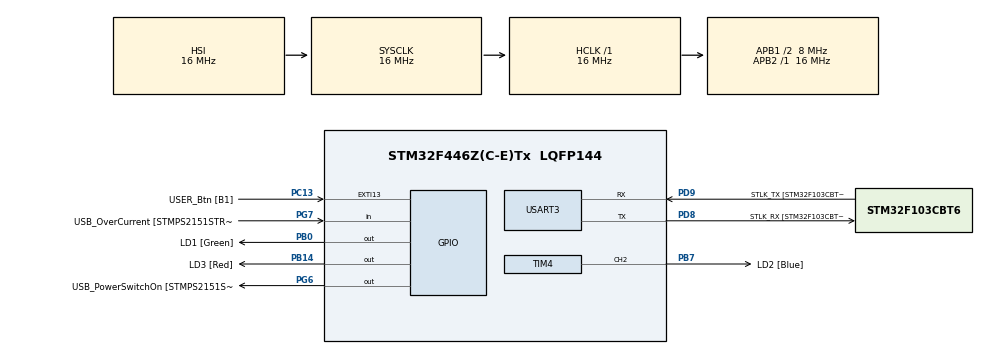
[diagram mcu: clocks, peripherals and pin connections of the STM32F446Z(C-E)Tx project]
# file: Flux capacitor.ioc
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Dma.Request0=USART3_RX
Dma.Request1=USART3_TX
Dma.USART3_RX.0.Direction=DMA_PERIPH_TO_MEMORY
Dma.USART3_RX.0.FIFOMode=DMA_FIFOMODE_DISABLE
Dma.USART3_RX.0.Instance=DMA1_Stream1
Dma.USART3_RX.0.MemDataAlignment=DMA_MDATAALIGN_BYTE
Dma.USART3_RX.0.MemInc=DMA_MINC_ENABLE
Dma.USART3_RX.0.Mode=DMA_CIRCULAR
Dma.USART3_RX.0.PeriphDataAlignment=DMA_PDATAALIGN_BYTE
Dma.USART3_RX.0.PeriphInc=DMA_PINC_DISABLE
Dma.USART3_RX.0.Priority=DMA_PRIORITY_LOW
Dma.USART3_TX.1.Direction=DMA_MEMORY_TO_PERIPH
Dma.USART3_TX.1.FIFOMode=DMA_FIFOMODE_DISABLE
Dma.USART3_TX.1.Instance=DMA1_Stream3
Dma.USART3_TX.1.MemDataAlignment=DMA_MDATAALIGN_BYTE
Dma.USART3_TX.1.MemInc=DMA_MINC_ENABLE
Dma.USART3_TX.1.Mode=DMA_CIRCULAR
Dma.USART3_TX.1.PeriphDataAlignment=DMA_PDATAALIGN_BYTE
Dma.USART3_TX.1.PeriphInc=DMA_PINC_DISABLE
Dma.USART3_TX.1.Priority=DMA_PRIORITY_LOW
Mcu.Family=STM32F4
Mcu.Name=STM32F446Z(C-E)Tx
Mcu.Package=LQFP144
NVIC.DMA1_Stream1_IRQn=true\:0\:0\:false\:false\:true
NVIC.DMA1_Stream3_IRQn=true\:0\:0\:false\:false\:true
NVIC.EXTI15_10_IRQn=true\:0\:0\:false\:false\:true
NVIC.PriorityGroup=NVIC_PRIORITYGROUP_4
NVIC.TIM8_TRG_COM_TIM14_IRQn=true\:0\:0\:false\:false\:true
NVIC.USART3_IRQn=true\:0\:0\:false\:false\:true
PA10.GPIO_Label=USB_ID
PA10.Signal=USB_OTG_FS_ID
PA11.GPIO_Label=USB_DM
PA11.Signal=USB_OTG_FS_DM
PA12.GPIO_Label=USB_DP
PA12.Signal=USB_OTG_FS_DP
PA13.GPIO_Label=TMS
PA13.Signal=SYS_JTMS-SWDIO
PA14.GPIO_Label=TCK
PA14.Signal=SYS_JTCK-SWCLK
PA8.GPIO_Label=USB_SOF [TP1]
PA8.Signal=USB_OTG_FS_SOF
PA9.GPIO_Label=USB_VBUS
PA9.Signal=USB_OTG_FS_VBUS
PB0.GPIO_Label=LD1 [Green]
PB0.Signal=GPIO_Output
PB14.GPIO_Label=LD3 [Red]
PB14.Signal=GPIO_Output
PB7.GPIO_Label=LD2 [Blue]
PB7.Signal=S_TIM4_CH2
PC13.GPIO_Label=USER_Btn [B1]
PC13.Signal=GPXTI13
PC14-OSC32_IN.Signal=RCC_OSC32_IN
PC15-OSC32_OUT.Signal=RCC_OSC32_OUT
PD8.GPIO_Label=STLK_RX [STM32F103CBT6_PA3]
PD8.Mode=Asynchronous
PD8.Signal=USART3_TX
PD9.GPIO_Label=STLK_TX [STM32F103CBT6_PA2]
PD9.Mode=Asynchronous
PD9.Signal=USART3_RX
PG6.GPIO_Label=USB_PowerSwitchOn [STMPS2151STR_EN]
PG6.Signal=GPIO_Output
PG7.GPIO_Label=USB_OverCurrent [STMPS2151STR_FAULT]
PG7.Signal=GPIO_Input
PH0-OSC_IN.GPIO_Label=MCO [STM32F103CBT6_PA8]
PH0-OSC_IN.Signal=RCC_OSC_IN
PH1-OSC_OUT.Signal=RCC_OSC_OUT
ProjectManager.HeapSize=0x200
ProjectManager.StackSize=0x400
ProjectManager.TargetToolchain=MDK-ARM V5
RCC.48MHZClocksFreq_Value=24000000
RCC.AHBFreq_Value=16000000
RCC.APB1CLKDivider=RCC_HCLK_DIV2
RCC.APB1Freq_Value=8000000
RCC.APB1TimFreq_Value=16000000
RCC.APB2Freq_Value=16000000
RCC.APB2TimFreq_Value=16000000
RCC.CortexFreq_Value=16000000
RCC.HCLKFreq_Value=16000000
RCC.HSE_VALUE=8000000
RCC.HSI_VALUE=16000000
RCC.LSE_VALUE=32768
RCC.PLLMUL=RCC_PLL_MUL9
RCC.PRESCALERUSB=RCC_USBCLKSOURCE_PLL_DIV1_5
RCC.SYSCLKFreq_VALUE=16000000
RCC.SYSCLKSourceVirtual=RCC_SYSCLKSOURCE_PLLCLK
RCC.USBFreq_Value=96000000
RCC.VCOOutputFreq_Value=192000000
RCC.VDD_VALUE=3.3
SH.S_TIM4_CH2.0=TIM4_CH2,PWM Generation2 CH2
TIM14.Period=15999
TIM14.Prescaler=0
TIM4.Channel-PWM\ Generation2\ CH2=TIM_CHANNEL_2
TIM4.Period=999
TIM4.Prescaler=159
VP_TIM14_VS_ClockSourceINT.Mode=Enable_Timer
board=NUCLEO-F446ZE

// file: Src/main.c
/**
  ******************************************************************************
  * File Name          : main.c
  * Description        : Main program body
  ******************************************************************************
  *
  * COPYRIGHT(c) 2017 STMicroelectronics
  *
  * Redistribution and use in source and binary forms, with or without modification,
  * are permitted provided that the following conditions are met:
  *   1. Redistributions of source code must retain the above copyright notice,
  *      this list of conditions and the following disclaimer.
  *   2. Redistributions in binary form must reproduce the above copyright notice,
  *      this list of conditions and the following disclaimer in the documentation
  *      and/or other materials provided with the distribution.
  *   3. Neither the name of STMicroelectronics nor the names of its contributors
  *      may be used to endorse or promote products derived from this software
  *      without specific prior written permission.
  *
  * THIS SOFTWARE IS PROVIDED BY THE COPYRIGHT HOLDERS AND CONTRIBUTORS "AS IS"
  * AND ANY EXPRESS OR IMPLIED WARRANTIES, INCLUDING, BUT NOT LIMITED TO, THE
  * IMPLIED WARRANTIES OF MERCHANTABILITY AND FITNESS FOR A PARTICULAR PURPOSE ARE
  * DISCLAIMED. IN NO EVENT SHALL THE COPYRIGHT HOLDER OR CONTRIBUTORS BE LIABLE
  * FOR ANY DIRECT, INDIRECT, INCIDENTAL, SPECIAL, EXEMPLARY, OR CONSEQUENTIAL
  * DAMAGES (INCLUDING, BUT NOT LIMITED TO, PROCUREMENT OF SUBSTITUTE GOODS OR
  * SERVICES; LOSS OF USE, DATA, OR PROFITS; OR BUSINESS INTERRUPTION) HOWEVER
  * CAUSED AND ON ANY THEORY OF LIABILITY, WHETHER IN CONTRACT, STRICT LIABILITY,
  * OR TORT (INCLUDING NEGLIGENCE OR OTHERWISE) ARISING IN ANY WAY OUT OF THE USE
  * OF THIS SOFTWARE, EVEN IF ADVISED OF THE POSSIBILITY OF SUCH DAMAGE.
  *
  ******************************************************************************
  */
#include "main.h"
#include "stm32f4xx_hal.h"

TIM_HandleTypeDef htim4;
TIM_HandleTypeDef htim14;

UART_HandleTypeDef huart3;
DMA_HandleTypeDef hdma_usart3_rx;
DMA_HandleTypeDef hdma_usart3_tx;

/* USER CODE BEGIN PV */
/* Private variables ---------------------------------------------------------*/
#define DEBUG_MODE 1

#define MAXSTRING 27

char	rxBuffer = '\000';
char	rxString[MAXSTRING];
int rxindex = 0;

#define BURST_TIME	70
#define READY_TIME	150
#define TIME_OUT	300
uint16_t ready, burst, first;
uint16_t timer;
volatile uint16_t breath_mode, click_count;

/* USER CODE END PV */

void SystemClock_Config(void);
void Error_Handler(void);
static void MX_GPIO_Init(void);
static void MX_DMA_Init(void);
static void MX_USART3_UART_Init(void);
static void MX_TIM14_Init(void);
static void MX_TIM4_Init(void);
void HAL_TIM_MspPostInit(TIM_HandleTypeDef *htim);

/* USER CODE BEGIN PFP */
/* Private function prototypes -----------------------------------------------*/
void HAL_UART_RxCpltCallback(UART_HandleTypeDef *huart);
void print(char string[MAXSTRING]);

/* USER CODE END PFP */

int main(void)
{

  /* USER CODE BEGIN 1 */
	char button_pressed  = 0;

  /* USER CODE END 1 */

  /* MCU Configuration----------------------------------------------------------*/

  /* Reset of all peripherals, Initializes the Flash interface and the Systick. */
  HAL_Init();

  /* Configure the system clock */
  SystemClock_Config();

  /* Initialize all configured peripherals */
  MX_GPIO_Init();
  MX_DMA_Init();
  MX_USART3_UART_Init();
  MX_TIM14_Init();
  MX_TIM4_Init();

  /* USER CODE BEGIN 2 */
//	HAL_TIM_Base_Start_IT(&htim14);
	HAL_TIM_PWM_Start(&htim4,TIM_CHANNEL_2);

	GPIO_TypeDef *led_port[]={LD1_GPIO_Port, LD2_GPIO_Port, LD3_GPIO_Port};
	int led_pin[]={LD1_Pin, LD2_Pin ,LD3_Pin};

	char buff[30];

//	for(char i=0; i<3; i++){
//		for(char j=(i+1)*2;j>0;j--){
////
////			sprintf(buff, "\r\n  i= %i; j= %i",i,j);
////			HAL_UART_Transmit(&huart3, (uint8_t*)buff, strlen(buff), 0xFFFF);
////
//		switch (i){
//			case 0: {	HAL_GPIO_TogglePin(led_port[0], led_pin[0]);
//								break;}
//			case 1: {	HAL_GPIO_TogglePin(led_port[0], led_pin[0]);
//								HAL_GPIO_TogglePin(led_port[1], led_pin[1]);
//								break;}
//			case 2: {	HAL_GPIO_TogglePin(led_port[0], led_pin[0]);
//								HAL_GPIO_TogglePin(led_port[1], led_pin[1]);
//								HAL_GPIO_TogglePin(led_port[2], led_pin[2]);
//								break;}
//		}
//		HAL_Delay(100);
//		}
//		HAL_Delay(100);
//	}

//	HAL_GPIO_WritePin(LD1_GPIO_Port, LD1_Pin, GPIO_PIN_SET);
//	HAL_GPIO_WritePin(LD2_GPIO_Port, LD2_Pin, GPIO_PIN_SET);
//	HAL_GPIO_WritePin(LD3_GPIO_Port, LD3_Pin, GPIO_PIN_SET);

	char *msg = "\n\rNucleo-144 ISR-UART-DMA Fun!\n\r";

  HAL_UART_Transmit(&huart3, (uint8_t*)msg, strlen(msg), 0xFFFF);
	HAL_UART_Receive_DMA(&huart3, &rxBuffer, 1);

  /* USER CODE END 2 */

  /* Infinite loop */
  /* USER CODE BEGIN WHILE */

		uint16_t dutyCycle = HAL_TIM_ReadCapturedValue(&htim4, TIM_CHANNEL_2);
		sprintf(buff, "\r\ndutyCycle: %d", dutyCycle);
		HAL_UART_Transmit(&huart3, (uint8_t*)buff, strlen(buff), 0xFFFF);

  	while (1)
  {
  /* USER CODE END WHILE */

  /* USER CODE BEGIN 3 */

		HAL_GPIO_TogglePin(LD3_GPIO_Port, LD3_Pin);
		HAL_Delay(250);

		if(breath_mode == 0x01){
				while(dutyCycle < __HAL_TIM_GET_AUTORELOAD(&htim4)) {
					__HAL_TIM_SET_COMPARE(&htim4, TIM_CHANNEL_2, ++dutyCycle);
					HAL_Delay(1);
				}

				while(dutyCycle > 0) {
					__HAL_TIM_SET_COMPARE(&htim4, TIM_CHANNEL_2, --dutyCycle);
					HAL_Delay(1);
				}
		}
//
//
//
//		if (HAL_GPIO_ReadPin(USER_Btn_GPIO_Port, USER_Btn_Pin)){
//			HAL_GPIO_TogglePin(LD2_GPIO_Port, LD2_Pin);
//			HAL_Delay(100);
//		}

//
//		if(HAL_GPIO_ReadPin(USER_Btn_GPIO_Port, USER_Btn_Pin)){
//			char buff[30];
//			sprintf(buff, "\r\nUSER BUTTON status: %s; button_pressed: %i",
//			HAL_GPIO_ReadPin(USER_Btn_GPIO_Port, USER_Btn_Pin) == GPIO_PIN_SET ? "PRESSED" : "RELEASED"
//			,button_pressed);
//			HAL_UART_Transmit(&huart3, (uint8_t*)buff, strlen(buff), 0xFFFF);
//
//			if(button_pressed==0)
//			{
//				HAL_GPIO_TogglePin(LD2_GPIO_Port, LD2_Pin);
//				button_pressed=1;
//				HAL_Delay(100);
//			}
//
//		}
//
//		else
//			{
//			button_pressed=0;
//			HAL_Delay(100);
//			}
//

	}
  /* USER CODE END 3 */

}

/** System Clock Configuration
*/
void SystemClock_Config(void)
{

  RCC_OscInitTypeDef RCC_OscInitStruct;
  RCC_ClkInitTypeDef RCC_ClkInitStruct;

    /**Configure the main internal regulator output voltage
    */
  __HAL_RCC_PWR_CLK_ENABLE();

  __HAL_PWR_VOLTAGESCALING_CONFIG(PWR_REGULATOR_VOLTAGE_SCALE3);

    /**Initializes the CPU, AHB and APB busses clocks
    */
  RCC_OscInitStruct.OscillatorType = RCC_OSCILLATORTYPE_HSI;
  RCC_OscInitStruct.HSIState = RCC_HSI_ON;
  RCC_OscInitStruct.HSICalibrationValue = 16;
  RCC_OscInitStruct.PLL.PLLState = RCC_PLL_NONE;
  if (HAL_RCC_OscConfig(&RCC_OscInitStruct) != HAL_OK)
  {
    Error_Handler();
  }

    /**Initializes the CPU, AHB and APB busses clocks
    */
  RCC_ClkInitStruct.ClockType = RCC_CLOCKTYPE_HCLK|RCC_CLOCKTYPE_SYSCLK
                              |RCC_CLOCKTYPE_PCLK1|RCC_CLOCKTYPE_PCLK2;
  RCC_ClkInitStruct.SYSCLKSource = RCC_SYSCLKSOURCE_HSI;
  RCC_ClkInitStruct.AHBCLKDivider = RCC_SYSCLK_DIV1;
  RCC_ClkInitStruct.APB1CLKDivider = RCC_HCLK_DIV2;
  RCC_ClkInitStruct.APB2CLKDivider = RCC_HCLK_DIV1;

  if (HAL_RCC_ClockConfig(&RCC_ClkInitStruct, FLASH_LATENCY_0) != HAL_OK)
  {
    Error_Handler();
  }

    /**Configure the Systick interrupt time
    */
  HAL_SYSTICK_Config(HAL_RCC_GetHCLKFreq()/1000);

    /**Configure the Systick
    */
  HAL_SYSTICK_CLKSourceConfig(SYSTICK_CLKSOURCE_HCLK);

  /* SysTick_IRQn interrupt configuration */
  HAL_NVIC_SetPriority(SysTick_IRQn, 0, 0);
}

/* TIM4 init function */
static void MX_TIM4_Init(void)
{

  TIM_MasterConfigTypeDef sMasterConfig;
  TIM_OC_InitTypeDef sConfigOC;

  htim4.Instance = TIM4;
  htim4.Init.Prescaler = 159;
  htim4.Init.CounterMode = TIM_COUNTERMODE_UP;
  htim4.Init.Period = 999;
  htim4.Init.ClockDivision = TIM_CLOCKDIVISION_DIV1;
  if (HAL_TIM_PWM_Init(&htim4) != HAL_OK)
  {
    Error_Handler();
  }

  sMasterConfig.MasterOutputTrigger = TIM_TRGO_RESET;
  sMasterConfig.MasterSlaveMode = TIM_MASTERSLAVEMODE_DISABLE;
  if (HAL_TIMEx_MasterConfigSynchronization(&htim4, &sMasterConfig) != HAL_OK)
  {
    Error_Handler();
  }

  sConfigOC.OCMode = TIM_OCMODE_PWM1;
  sConfigOC.Pulse = 0;
  sConfigOC.OCPolarity = TIM_OCPOLARITY_HIGH;
  sConfigOC.OCFastMode = TIM_OCFAST_DISABLE;
  if (HAL_TIM_PWM_ConfigChannel(&htim4, &sConfigOC, TIM_CHANNEL_2) != HAL_OK)
  {
    Error_Handler();
  }

  HAL_TIM_MspPostInit(&htim4);

}

/* TIM14 init function */
static void MX_TIM14_Init(void)
{

  htim14.Instance = TIM14;
  htim14.Init.Prescaler = 0;
  htim14.Init.CounterMode = TIM_COUNTERMODE_UP;
  htim14.Init.Period = 15999;
  htim14.Init.ClockDivision = TIM_CLOCKDIVISION_DIV1;
  if (HAL_TIM_Base_Init(&htim14) != HAL_OK)
  {
    Error_Handler();
  }

}

/* USART3 init function */
static void MX_USART3_UART_Init(void)
{

  huart3.Instance = USART3;
  huart3.Init.BaudRate = 115200;
  huart3.Init.WordLength = UART_WORDLENGTH_8B;
  huart3.Init.StopBits = UART_STOPBITS_1;
  huart3.Init.Parity = UART_PARITY_NONE;
  huart3.Init.Mode = UART_MODE_TX_RX;
  huart3.Init.HwFlowCtl = UART_HWCONTROL_NONE;
  huart3.Init.OverSampling = UART_OVERSAMPLING_16;
  if (HAL_UART_Init(&huart3) != HAL_OK)
  {
    Error_Handler();
  }

}

static void MX_DMA_Init(void)
{
  /* DMA controller clock enable */
  __HAL_RCC_DMA1_CLK_ENABLE();

  /* DMA interrupt init */
  /* DMA1_Stream1_IRQn interrupt configuration */
  HAL_NVIC_SetPriority(DMA1_Stream1_IRQn, 0, 0);
  HAL_NVIC_EnableIRQ(DMA1_Stream1_IRQn);
  /* DMA1_Stream3_IRQn interrupt configuration */
  HAL_NVIC_SetPriority(DMA1_Stream3_IRQn, 0, 0);
  HAL_NVIC_EnableIRQ(DMA1_Stream3_IRQn);

}

/** Configure pins as
        * Analog
        * Input
        * Output
        * EVENT_OUT
        * EXTI
     PA8   ------> USB_OTG_FS_SOF
     PA9   ------> USB_OTG_FS_VBUS
     PA10   ------> USB_OTG_FS_ID
     PA11   ------> USB_OTG_FS_DM
     PA12   ------> USB_OTG_FS_DP
*/
static void MX_GPIO_Init(void)
{

  GPIO_InitTypeDef GPIO_InitStruct;

  /* GPIO Ports Clock Enable */
  __HAL_RCC_GPIOC_CLK_ENABLE();
  __HAL_RCC_GPIOH_CLK_ENABLE();
  __HAL_RCC_GPIOB_CLK_ENABLE();
  __HAL_RCC_GPIOD_CLK_ENABLE();
  __HAL_RCC_GPIOG_CLK_ENABLE();
  __HAL_RCC_GPIOA_CLK_ENABLE();

  /*Configure GPIO pin Output Level */
  HAL_GPIO_WritePin(GPIOB, LD1_Pin|LD3_Pin, GPIO_PIN_RESET);

  /*Configure GPIO pin Output Level */
  HAL_GPIO_WritePin(USB_PowerSwitchOn_GPIO_Port, USB_PowerSwitchOn_Pin, GPIO_PIN_RESET);

  /*Configure GPIO pin : USER_Btn_Pin */
  GPIO_InitStruct.Pin = USER_Btn_Pin;
  GPIO_InitStruct.Mode = GPIO_MODE_IT_RISING;
  GPIO_InitStruct.Pull = GPIO_NOPULL;
  HAL_GPIO_Init(USER_Btn_GPIO_Port, &GPIO_InitStruct);

  /*Configure GPIO pins : LD1_Pin LD3_Pin */
  GPIO_InitStruct.Pin = LD1_Pin|LD3_Pin;
  GPIO_InitStruct.Mode = GPIO_MODE_OUTPUT_PP;
  GPIO_InitStruct.Pull = GPIO_NOPULL;
  GPIO_InitStruct.Speed = GPIO_SPEED_FREQ_LOW;
  HAL_GPIO_Init(GPIOB, &GPIO_InitStruct);

  /*Configure GPIO pin : USB_PowerSwitchOn_Pin */
  GPIO_InitStruct.Pin = USB_PowerSwitchOn_Pin;
  GPIO_InitStruct.Mode = GPIO_MODE_OUTPUT_PP;
  GPIO_InitStruct.Pull = GPIO_NOPULL;
  GPIO_InitStruct.Speed = GPIO_SPEED_FREQ_LOW;
  HAL_GPIO_Init(USB_PowerSwitchOn_GPIO_Port, &GPIO_InitStruct);

  /*Configure GPIO pin : USB_OverCurrent_Pin */
  GPIO_InitStruct.Pin = USB_OverCurrent_Pin;
  GPIO_InitStruct.Mode = GPIO_MODE_INPUT;
  GPIO_InitStruct.Pull = GPIO_NOPULL;
  HAL_GPIO_Init(USB_OverCurrent_GPIO_Port, &GPIO_InitStruct);

  /*Configure GPIO pins : USB_SOF_Pin USB_ID_Pin USB_DM_Pin USB_DP_Pin */
  GPIO_InitStruct.Pin = USB_SOF_Pin|USB_ID_Pin|USB_DM_Pin|USB_DP_Pin;
  GPIO_InitStruct.Mode = GPIO_MODE_AF_PP;
  GPIO_InitStruct.Pull = GPIO_NOPULL;
  GPIO_InitStruct.Speed = GPIO_SPEED_FREQ_VERY_HIGH;
  GPIO_InitStruct.Alternate = GPIO_AF10_OTG_FS;
  HAL_GPIO_Init(GPIOA, &GPIO_InitStruct);

  /*Configure GPIO pin : USB_VBUS_Pin */
  GPIO_InitStruct.Pin = USB_VBUS_Pin;
  GPIO_InitStruct.Mode = GPIO_MODE_INPUT;
  GPIO_InitStruct.Pull = GPIO_NOPULL;
  HAL_GPIO_Init(USB_VBUS_GPIO_Port, &GPIO_InitStruct);

  /* EXTI interrupt init*/
  HAL_NVIC_SetPriority(EXTI15_10_IRQn, 0, 0);
  HAL_NVIC_EnableIRQ(EXTI15_10_IRQn);

}

/* USER CODE BEGIN 4 */

// ISR -------------------------------------------------------

// nereikia, jei CubeMX yra ijungta NVIC -> EXTI Line [0:15] interrupts

//void EXTI15_10_IRQHandler(void) {
//	HAL_GPIO_EXTI_IRQHandler(USER_Btn_Pin);
//	//HAL_GPIO_EXTI_IRQHandler(GPIO_PIN_13);
//}

void HAL_GPIO_EXTI_Callback(uint16_t GPIO_Pin){

	if(GPIO_Pin == USER_Btn_Pin){
		char *msg = "\n\r --- User Button! ---\n\r";
		HAL_UART_Transmit(&huart3, (uint8_t*)msg, strlen(msg), 0xFFFF);

		if (!first)
				{
					HAL_TIM_Base_Start_IT(&htim14);
					first = 1;

					#ifdef DEBUG_MODE
					print("First Pulse\n\r");
					#endif
				} else

		if (burst)
			{
				timer = 0;
				first = 0;
				burst = 0;

				HAL_TIM_Base_Stop_IT(&htim14);

				#ifdef DEBUG_MODE
				print("False Pulse\n\r");
				#endif
			} else {

				if (ready)
					{
						HAL_TIM_Base_Stop_IT(&htim14);
						timer = 0;
						first = 0;
						ready = 0;

						HAL_GPIO_TogglePin(LD1_GPIO_Port, LD1_Pin);

						breath_mode = breath_mode ^ 0x01;
//						if (breath_mode != 0x01) {
							click_count = 0;
//						}
//
						#ifdef DEBUG_MODE
						print("ON/OFF \n\r");
						#endif
					}
			}

						if (breath_mode != 0x01 && !burst && !ready){
				click_count++;

				char buff[30];
				sprintf(buff, "\r\n breath_mode: %d   click_count: %d \r\n", breath_mode, click_count);
				HAL_UART_Transmit(&huart3, (uint8_t*)buff, strlen(buff), 0xFFFF);

				switch (click_count){
					case 1: __HAL_TIM_SET_COMPARE(&htim4, TIM_CHANNEL_2, 249); break;
					case 2: __HAL_TIM_SET_COMPARE(&htim4, TIM_CHANNEL_2, 499); break;
					case 3: __HAL_TIM_SET_COMPARE(&htim4, TIM_CHANNEL_2, 749); break;
					case 4: __HAL_TIM_SET_COMPARE(&htim4, TIM_CHANNEL_2, 999); break;
					case 5: __HAL_TIM_SET_COMPARE(&htim4, TIM_CHANNEL_2, 0); click_count = 0; break;
				}

			}

//  HAL_GPIO_TogglePin(LD2_GPIO_Port, LD2_Pin);

//	char buff[30];

//	 sprintf(buff, "\r\nUSER BUTTON status: %s",
//	 HAL_GPIO_ReadPin(USER_Btn_GPIO_Port, USER_Btn_Pin) == GPIO_PIN_RESET ? "PRESSED" : "RELEASED");
//	 HAL_UART_Transmit(&huart3, (uint8_t*)buff, strlen(buff), 0xFFFF);

//	 sprintf(buff, "\r\nSkaicius: %.2f", 122.12);
//	 HAL_UART_Transmit(&huart3, (uint8_t*)buff, strlen(buff), 0xFFFF);

		}
}

void HAL_TIM_PeriodElapsedCallback(TIM_HandleTypeDef *htim) {
	// This callback is automatically called by the HAL on the UEV event
	if(htim->Instance == TIM14){
//		HAL_GPIO_TogglePin(LD1_GPIO_Port, LD1_Pin);

		timer++;
		if (timer == BURST_TIME)
			{
				#ifdef DEBUG_MODE
				print("Burst\n\r");
				#endif
				burst = 1;
				ready = 0;
			} else
		if (timer == READY_TIME)
			{
				burst = 0;
				ready = 1;
				#ifdef DEBUG_MODE
				print("Ready\n\r");
				#endif
			} else
		if (timer == TIME_OUT)
			{
				#ifdef DEBUG_MODE
				print("Time out\n\r");
				#endif
				timer = 0;
				burst = 0;
				ready = 0;
				first = 0;
				HAL_TIM_Base_Stop_IT(&htim14);
			}
	}
}

//USART -------------------------------------------------
void print(char string[MAXSTRING])
{
	HAL_UART_Transmit(&huart3, (uint8_t*)string, strlen(string),  0xFFFF);
}

void HAL_UART_RxCpltCallback(UART_HandleTypeDef *huart)
{
//	HAL_GPIO_TogglePin(LD2_GPIO_Port, LD2_Pin);

	__HAL_UART_FLUSH_DRREGISTER(&huart3); // Clear the buffer to prevent overrun

  HAL_UART_Transmit(&huart3, (uint8_t*)&rxBuffer, 1, 0xFFFF); //echo

  if (rxBuffer == 8 || rxBuffer == 127) // If Backspace or del
    {
      print(" \b"); // "\b space \b" clears the terminal character. Remember we just echoced a \b so don't need another one here, just space and \b
      rxindex--;
      if (rxindex < 0) rxindex = 0;
    }

  else if (rxBuffer == '\n' || rxBuffer == '\r') // If Enter
    {
//      executeSerialCommand(rxString);
      rxString[rxindex] = 0;
      rxindex = 0;

      print("\n\r");
      print(rxString);

      for (int i = 0; i < MAXSTRING; i++) rxString[i] = 0; // Clear the string buffer
    }

  else
    {
      rxString[rxindex] = rxBuffer; // Add that character to the string
      rxindex++;
      if (rxindex > MAXSTRING) // User typing too much, we can't have commands that big
    {
      rxindex = 0;
      for (int i = 0; i < MAXSTRING; i++) rxString[i] = 0; // Clear the string buffer
    }
    }

}

/* USER CODE END 4 */

void Error_Handler(void)
{
  while(1)
  {
  }
}

/************************ (C) COPYRIGHT STMicroelectronics *****END OF FILE****/
